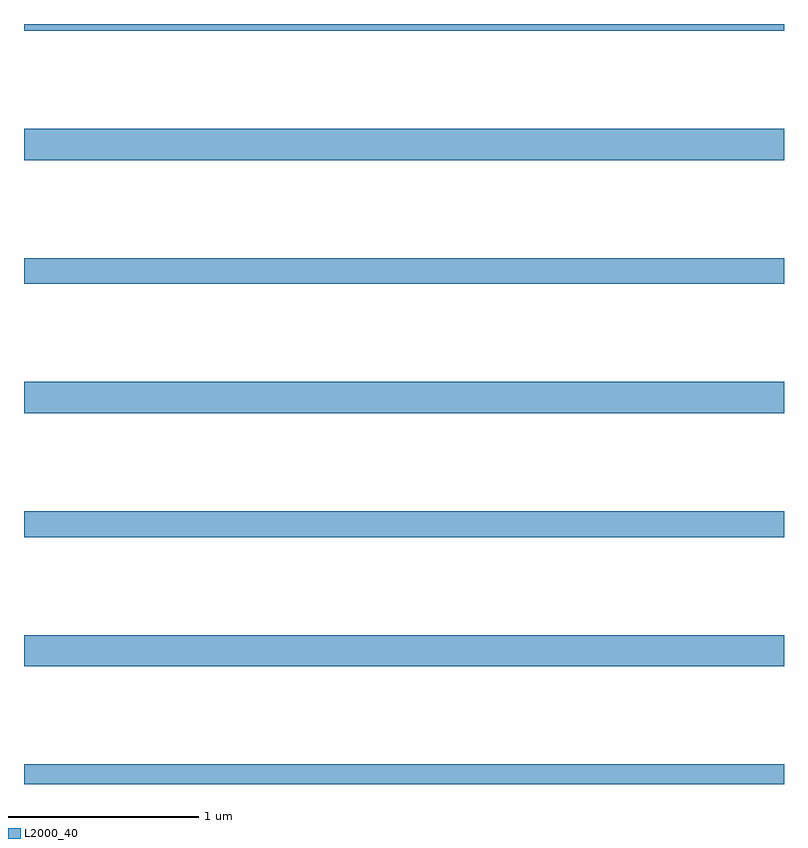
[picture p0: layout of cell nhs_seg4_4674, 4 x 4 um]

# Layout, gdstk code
import gdstk
lib = gdstk.Library(unit=1e-6, precision=1e-09)
def R(c, l, rs):  # rectangles x0, y0, x1, y1
    for r in rs: c.add(gdstk.rectangle(r[:2], r[2:], *l))
def A(c, l, x, y, w, h, nx, ny, dx, dy):  # array of equal rectangles
    R(c, l, [(x+i*dx, y+j*dy, x+i*dx+w, y+j*dy+h) for i in range(nx) for j in range(ny)])
L2000_40 = (2000, 40)

nhs_seg4_4674 = lib.new_cell('nhs_seg4_4674')
A(nhs_seg4_4674, L2000_40, 363, 763.52, 4, 0.164, 1, 3, 0, 1.332)
R(nhs_seg4_4674, L2000_40, [(363,762.9,367,763.004), (363,764.2,367,764.336), (363,765.532,367,765.668), (363,766.864,367,766.9)])

lib.write_gds('nhs_seg4_4674.gds')
